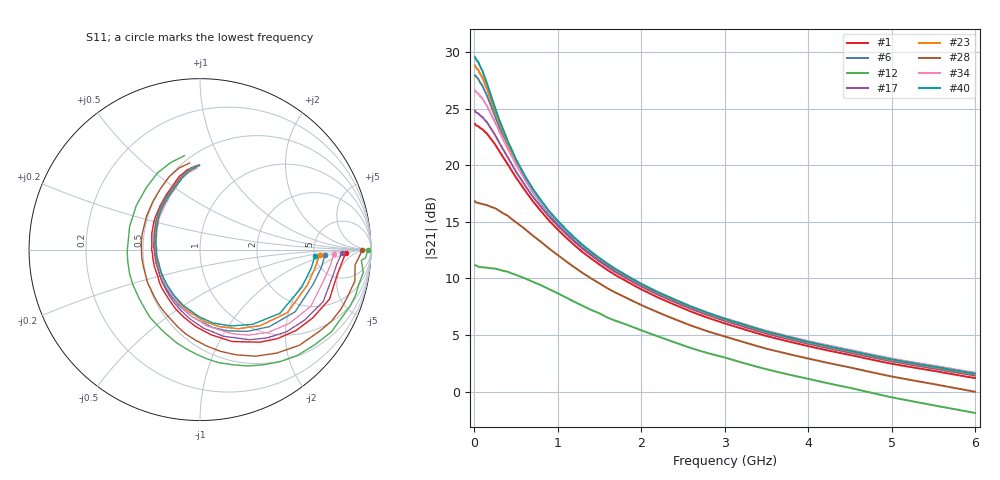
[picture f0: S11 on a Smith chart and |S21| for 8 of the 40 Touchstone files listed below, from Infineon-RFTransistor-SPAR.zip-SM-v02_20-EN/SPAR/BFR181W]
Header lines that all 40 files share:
! Infineon Technologies  Discrete & RF Semiconductors
! BFR181W
! Common Emitter S-Parameters:  Jan 2017
# GHz  S  MA  R  50
!  f  S11  S21  S12  S22
! GHz  MAG  ANG  MAG  ANG  MAG  ANG  MAG  ANG
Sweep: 10 MHz to 6 GHz
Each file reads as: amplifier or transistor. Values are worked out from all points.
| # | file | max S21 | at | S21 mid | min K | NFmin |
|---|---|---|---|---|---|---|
| 1 | BFR181W_w_noise_VCE_4.0V_IC_5.0mA.s2p | 23.7 dB | 10 MHz | 8.3 dB at 2.2 GHz | -0.15 | 0.97 dB |
| 2 | BFR181W_w_noise_VCE_4.0V_IC_6.0mA.s2p | 24.9 dB | 10 MHz | 8.5 dB at 2.2 GHz | -0.13 | 1.03 dB |
| 3 | BFR181W_w_noise_VCE_4.0V_IC_7.0mA.s2p | 25.9 dB | 10 MHz | 8.6 dB at 2.2 GHz | 0.02 | 1.08 dB |
| 4 | BFR181W_w_noise_VCE_4.0V_IC_8.0mA.s2p | 26.7 dB | 10 MHz | 8.6 dB at 2.2 GHz | -0.06 | 1.14 dB |
| 5 | BFR181W_w_noise_VCE_4.0V_IC_9.0mA.s2p | 27.4 dB | 10 MHz | 8.6 dB at 2.2 GHz | -0.02 | 1.18 dB |
| 6 | BFR181W_w_noise_VCE_4.0V_IC_10mA.s2p | 27.9 dB | 10 MHz | 8.6 dB at 2.2 GHz | -0.01 | 1.24 dB |
| 7 | BFR181W_w_noise_VCE_4.0V_IC_11mA.s2p | 28.4 dB | 10 MHz | 8.6 dB at 2.2 GHz | -0.02 | 1.29 dB |
| 8 | BFR181W_w_noise_VCE_4.0V_IC_12mA.s2p | 28.9 dB | 10 MHz | 8.5 dB at 2.2 GHz | 0.13 | 1.34 dB |
| 9 | BFR181W_w_noise_VCE_4.0V_IC_13mA.s2p | 29.2 dB | 10 MHz | 8.4 dB at 2.2 GHz | 0.11 | 1.39 dB |
| 10 | BFR181W_w_noise_VCE_4.0V_IC_14mA.s2p | 29.5 dB | 10 MHz | 8.3 dB at 2.2 GHz | -0.01 | 1.43 dB |
| 11 | BFR181W_w_noise_VCE_4.0V_IC_15mA.s2p | 29.8 dB | 10 MHz | 8.1 dB at 2.2 GHz | 0.05 | 1.47 dB |
| 12 | BFR181W_w_noise_VCE_5.0V_IC_1.0mA.s2p | 11.2 dB | 20 MHz | 4.9 dB at 2.2 GHz | -0.18 | 0.87 dB |
| 13 | BFR181W_w_noise_VCE_5.0V_IC_2.0mA.s2p | 16.8 dB | 10 MHz | 7.0 dB at 2.2 GHz | -0.10 | 0.84 dB |
| 14 | BFR181W_w_noise_VCE_5.0V_IC_3.0mA.s2p | 19.9 dB | 10 MHz | 7.8 dB at 2.2 GHz | -0.13 | 0.87 dB |
| 15 | BFR181W_w_noise_VCE_5.0V_IC_4.0mA.s2p | 22.1 dB | 10 MHz | 8.2 dB at 2.2 GHz | -0.12 | 0.92 dB |
| 16 | BFR181W_w_noise_VCE_5.0V_IC_5.0mA.s2p | 23.6 dB | 10 MHz | 8.4 dB at 2.2 GHz | -0.05 | 0.97 dB |
| 17 | BFR181W_w_noise_VCE_5.0V_IC_6.0mA.s2p | 24.8 dB | 10 MHz | 8.6 dB at 2.2 GHz | 0.00 | 1.03 dB |
| 18 | BFR181W_w_noise_VCE_5.0V_IC_7.0mA.s2p | 25.8 dB | 10 MHz | 8.7 dB at 2.2 GHz | -0.08 | 1.08 dB |
| 19 | BFR181W_w_noise_VCE_5.0V_IC_8.0mA.s2p | 26.6 dB | 10 MHz | 8.7 dB at 2.2 GHz | -0.01 | 1.14 dB |
| 20 | BFR181W_w_noise_VCE_5.0V_IC_9.0mA.s2p | 27.3 dB | 10 MHz | 8.8 dB at 2.2 GHz | 0.04 | 1.18 dB |
| 21 | BFR181W_w_noise_VCE_5.0V_IC_10mA.s2p | 27.9 dB | 10 MHz | 8.8 dB at 2.2 GHz | 0.03 | 1.24 dB |
| 22 | BFR181W_w_noise_VCE_5.0V_IC_11mA.s2p | 28.4 dB | 10 MHz | 8.8 dB at 2.2 GHz | 0.06 | 1.29 dB |
| 23 | BFR181W_w_noise_VCE_5.0V_IC_12mA.s2p | 28.8 dB | 10 MHz | 8.7 dB at 2.2 GHz | 0.03 | 1.34 dB |
| 24 | BFR181W_w_noise_VCE_5.0V_IC_13mA.s2p | 29.2 dB | 10 MHz | 8.7 dB at 2.2 GHz | 0.03 | 1.39 dB |
| 25 | BFR181W_w_noise_VCE_5.0V_IC_14mA.s2p | 29.5 dB | 10 MHz | 8.6 dB at 2.2 GHz | 0.04 | 1.43 dB |
| 26 | BFR181W_w_noise_VCE_5.0V_IC_15mA.s2p | 29.8 dB | 10 MHz | 8.5 dB at 2.2 GHz | 0.05 | 1.47 dB |
| 27 | BFR181W_w_noise_VCE_6.0V_IC_1.0mA.s2p | 11.2 dB | 10 MHz | 4.9 dB at 2.2 GHz | -0.15 | 0.87 dB |
| 28 | BFR181W_w_noise_VCE_6.0V_IC_2.0mA.s2p | 16.8 dB | 10 MHz | 7.0 dB at 2.2 GHz | -0.02 | 0.84 dB |
| 29 | BFR181W_w_noise_VCE_6.0V_IC_3.0mA.s2p | 20.0 dB | 10 MHz | 7.8 dB at 2.2 GHz | -0.04 | 0.87 dB |
| 30 | BFR181W_w_noise_VCE_6.0V_IC_4.0mA.s2p | 22.1 dB | 10 MHz | 8.2 dB at 2.2 GHz | -0.20 | 0.92 dB |
| 31 | BFR181W_w_noise_VCE_6.0V_IC_5.0mA.s2p | 23.6 dB | 10 MHz | 8.5 dB at 2.2 GHz | -0.10 | 0.97 dB |
| 32 | BFR181W_w_noise_VCE_6.0V_IC_6.0mA.s2p | 24.8 dB | 10 MHz | 8.6 dB at 2.2 GHz | -0.12 | 1.03 dB |
| 33 | BFR181W_w_noise_VCE_6.0V_IC_7.0mA.s2p | 25.8 dB | 10 MHz | 8.8 dB at 2.2 GHz | -0.06 | 1.08 dB |
| 34 | BFR181W_w_noise_VCE_6.0V_IC_8.0mA.s2p | 26.6 dB | 10 MHz | 8.8 dB at 2.2 GHz | 0.01 | 1.14 dB |
| 35 | BFR181W_w_noise_VCE_6.0V_IC_9.0mA.s2p | 27.3 dB | 10 MHz | 8.9 dB at 2.2 GHz | 0.03 | 1.18 dB |
| 36 | BFR181W_w_noise_VCE_6.0V_IC_10mA.s2p | 27.9 dB | 10 MHz | 8.9 dB at 2.2 GHz | -0.03 | 1.24 dB |
| 37 | BFR181W_w_noise_VCE_6.0V_IC_11mA.s2p | 28.4 dB | 10 MHz | 8.9 dB at 2.2 GHz | 0.01 | 1.29 dB |
| 38 | BFR181W_w_noise_VCE_6.0V_IC_12mA.s2p | 28.8 dB | 10 MHz | 8.9 dB at 2.2 GHz | -0.13 | 1.34 dB |
| 39 | BFR181W_w_noise_VCE_6.0V_IC_13mA.s2p | 29.2 dB | 10 MHz | 8.8 dB at 2.2 GHz | 0.00 | 1.39 dB |
| 40 | BFR181W_w_noise_VCE_6.0V_IC_14mA.s2p | 29.5 dB | 10 MHz | 8.8 dB at 2.2 GHz | 0.12 | 1.43 dB |

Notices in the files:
Hoja de datos/BFP 450/Infineon-RFTransistor-SPAR.zip-SM-v02_20-EN/SPAR/BFR181W/BFR181W_w_noise_VCE_4.0V_IC_10mA.s2p:
(c) 2017  Infineon Technologies AG, Munich
